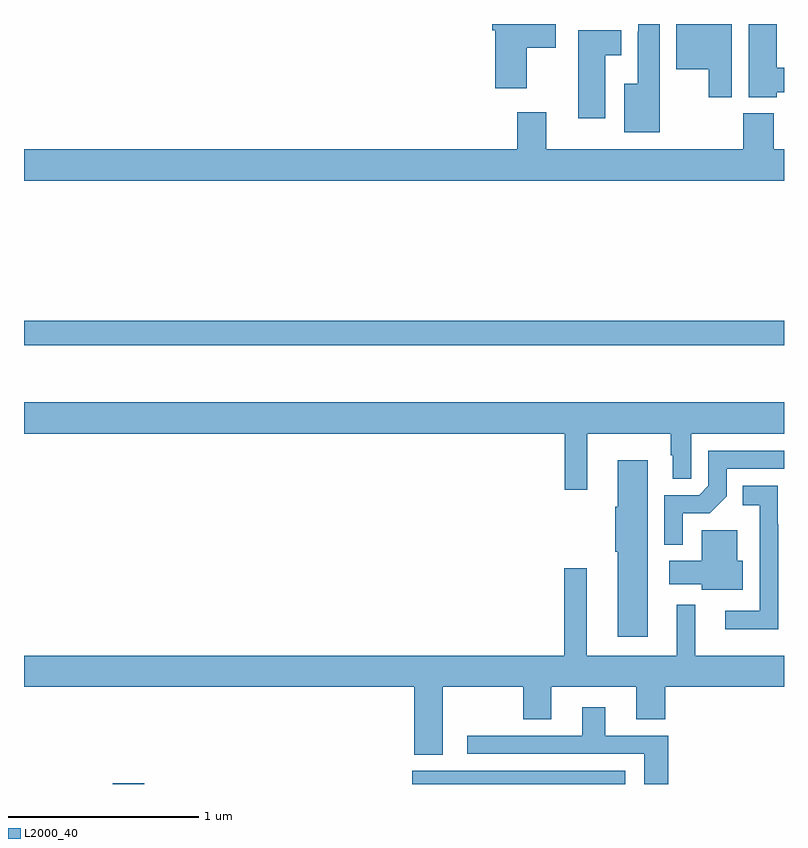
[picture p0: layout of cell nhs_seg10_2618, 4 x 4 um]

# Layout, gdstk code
import gdstk
lib = gdstk.Library(unit=1e-6, precision=1e-09)
def R(c, l, rs):  # rectangles x0, y0, x1, y1
    for r in rs: c.add(gdstk.rectangle(r[:2], r[2:], *l))
def P(c, l, *ps):  # polygons
    for p in ps: c.add(gdstk.Polygon(p, *l))
L2000_40 = (2000, 40)

nhs_seg10_2618 = lib.new_cell('nhs_seg10_2618')
R(nhs_seg10_2618, L2000_40, [(253.466,1270.5,253.632,1270.504), (255.044,1270.5,256.165,1270.569), (253,1272.81,257,1272.938)])
P(nhs_seg10_2618, L2000_40, [(256.345,1274.5),(256.233,1274.5),(256.233,1274.459),(256.229,1274.459),(256.229,1274.185),(256.16,1274.185),(256.16,1273.931),(256.345,1273.931)],
  [(256.726,1274.5),(256.433,1274.5),(256.433,1274.261),(256.604,1274.261),(256.604,1274.115),(256.726,1274.115)],
  [(256.961,1274.142),(257,1274.142),(257,1274.27),(256.961,1274.27),(256.961,1274.5),(256.814,1274.5),(256.814,1274.114),(256.961,1274.114)],
  [(255.646,1274.374),(255.799,1274.374),(255.799,1274.5),(255.464,1274.5),(255.464,1274.467),(255.479,1274.467),(255.479,1274.163),(255.646,1274.163)],
  [(256.06,1274.336),(256.144,1274.336),(256.144,1274.467),(255.917,1274.467),(255.917,1274.004),(256.06,1274.004)],
  [(257,1273.84),(256.946,1273.84),(256.946,1274.029),(256.786,1274.029),(256.786,1273.84),(255.748,1273.84),(255.748,1274.035),(255.596,1274.035),(255.596,1273.84),(253,1273.84),(253,1273.676),(257,1273.676)],
  [(255.964,1272.344),(256.404,1272.344),(256.404,1272.231),(256.415,1272.231),(256.415,1272.106),(256.512,1272.106),(256.512,1272.344),(257,1272.344),(257,1272.508),(253,1272.508),(253,1272.344),(255.847,1272.344),(255.847,1272.048),(255.964,1272.048)],
  [(256.467,1271.925),(256.608,1271.925),(256.698,1272.015),(256.698,1272.159),(257,1272.159),(257,1272.255),(256.602,1272.255),(256.602,1272.069),(256.554,1272.021),(256.371,1272.021),(256.371,1271.759),(256.467,1271.759)],
  [(256.282,1272.205),(256.124,1272.205),(256.124,1271.96),(256.112,1271.96),(256.112,1271.722),(256.124,1271.722),(256.124,1271.274),(256.282,1271.274)],
  [(256.969,1271.866),(256.968,1271.866),(256.968,1272.069),(256.783,1272.069),(256.783,1271.968),(256.872,1271.968),(256.872,1271.412),(256.692,1271.412),(256.692,1271.315),(256.969,1271.315)],
  [(256.783,1271.674),(256.753,1271.674),(256.753,1271.836),(256.568,1271.836),(256.568,1271.674),(256.395,1271.674),(256.395,1271.552),(256.568,1271.552),(256.568,1271.522),(256.783,1271.522)],
  [(255.205,1271.012),(255.628,1271.012),(255.628,1270.84),(255.775,1270.84),(255.775,1271.012),(256.223,1271.012),(256.223,1270.84),(256.376,1270.84),(256.376,1271.012),(257,1271.012),(257,1271.176),(256.534,1271.176),(256.534,1271.443),(256.436,1271.443),(256.436,1271.176),(255.961,1271.176),(255.961,1271.635),(255.844,1271.635),(255.844,1271.176),(253,1271.176),(253,1271.012),(255.053,1271.012),(255.053,1270.655),(255.205,1270.655)],
  [(256.391,1270.755),(256.06,1270.755),(256.06,1270.903),(255.938,1270.903),(255.938,1270.755),(255.333,1270.755),(255.333,1270.659),(256.265,1270.659),(256.265,1270.5),(256.391,1270.5)])

lib.write_gds('nhs_seg10_2618.gds')
